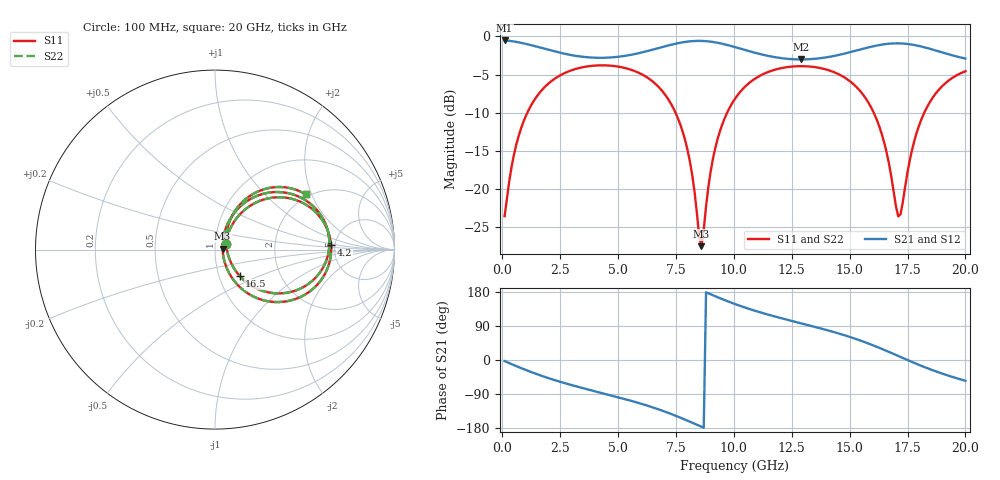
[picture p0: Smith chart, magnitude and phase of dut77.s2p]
! Touchstone file exported from HFSS 2026.1.0
!  File:  C:/ffzhzh/LocalFiles/Ansys_Project_Files/temp_train_TSV_RDL_77_1782970805_45748.aedt
!  Generated:  01:54:04 PM Jul  2, 2026
!  Design:  TSV_RDL
!  Project:  temp_train_TSV_RDL_77_1782970805_45748
! Variables:
!  h_bsmrdl = 2.3um
!  h_ox = 20um
!  h_rdl = 5um
!  h_sub = 69.18um
!  h_tmrdl = 2.97um
!  h_tsv = 69.18um
!  h_via = 3um
!  l_bsmrdl = 905.43um
!  l_sub = 6985um
!  l_tmrdl = 944.28um
!  m_sub = 200um
!  pitch = 48.86um
!  r_tsv = 7.68um
!  s_tmrdl = 10um
!  w_bsmrdl = 18.96um
!  w_sub = 500um
!  w_tmrdl = 11.57um
!  x_tsv_center1 = 950.065um
!  x_tsv_center2 = 1874.455um
!  x_tsv_center3 = 2830.305um
!  x_tsv_center4 = 3754.695um
!  x_tsv_center5 = 4710.545um
!  x_tsv_center6 = 5634.935um
# GHz S MA R 50.000000
! Terminal data exported
! Port[1] = TM_RDL1_1_T1
! Port[2] = TM_RDL5_1_T1
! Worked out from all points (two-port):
!   200 points, 100 MHz to 20 GHz, reference 50 ohm
!   highest |S21| = -0.53 dB at 100 MHz (marker M1); lowest = -3.0 dB at 12.9 GHz (marker M2)
!   |S21| within 3 dB of the highest: start of sweep to end of sweep
!   lowest |S11| = -27.4 dB at 8.6 GHz (marker M3), VSWR 1.09, Z = 54.4 + j0.6 ohm
!   |S11| at or under -10 dB: start of sweep to 1.079 GHz; 7.484 GHz to 9.707 GHz (2.223 GHz wide, 25.9 % of centre); 16.04 GHz to 18.22 GHz (2.179 GHz wide, 12.7 % of centre)
!   |S22| runs from -27.5 to -3.8 dB; largest |S21 - S12| = 1.6e-14
!   S11 on the Smith chart (normalised r, x): 100 MHz: 1.12, +0.07; 4.2 GHz: 4.63, +0.38; 16.5 GHz: 1.25, -0.38; 20 GHz: 1.91, +1.81
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0.1  0.06669 26.4  0.9412 -2.8  0.9412 -2.8  0.06669 26.4
! Gamma 0 0 0 0
! Port Impedance 50 0 50 0
0.6  0.1948 55.6  0.9214 -16.0  0.9214 -16.0  0.1948 55.6
1.2  0.3441 49.2  0.8801 -30.7  0.8801 -30.7  0.3441 49.2
3.5  0.6301 12.3  0.7351 -74.6  0.7351 -74.6  0.6301 12.3
4.2  0.6469 2.1  0.7246 -85.6  0.7246 -85.6  0.6469 2.1
5.5  0.6097 -17.3  0.7554 -106.6  0.7554 -106.6  0.6097 -17.3
6.8  0.4588 -39.6  0.8434 -131.3  0.8434 -131.3  0.4588 -39.6
7.9  0.2085 -58.3  0.9208 -157.5  0.9208 -157.5  0.2085 -58.4
8.6  0.04244 7.4  0.9349 -176.0  0.9349 -176.0  0.04229 7.4
9.2  0.1865 63.8  0.9147 168.1  0.9147 168.1  0.1865 63.8
10.1  0.4009 50.1  0.8476 146.5  0.8476 146.5  0.4008 50.1
11.6  0.5944 24.7  0.7398 117.7  0.7398 117.7  0.5944 24.7
12.9  0.639 5.7  0.7071 96.9  0.7071 96.9  0.639 5.7
13.4  0.6326 -1.4  0.7118 89.0  0.7118 89.0  0.6326 -1.5
15.4  0.449 -32.8  0.8168 52.8  0.8168 52.8  0.449 -32.8
16.5  0.2005 -46.8  0.8891 26.5  0.8891 26.5  0.2004 -46.9
16.7  0.1471 -44.4  0.8962 21.3  0.8962 21.3  0.147 -44.5
17.1  0.06647 -0.2  0.9012 10.6  0.9012 10.6  0.06614 -0.3
17.2  0.06862 23.4  0.9004 7.9  0.9004 7.9  0.06829 23.5
17.7  0.1822 62.8  0.884 -5.3  0.884 -5.3  0.182 62.9
18.2  0.3111 59.8  0.8515 -17.9  0.8515 -17.9  0.3111 59.9
20  0.5918 31.3  0.7168 -54.8  0.7168 -54.8  0.5918 31.4
